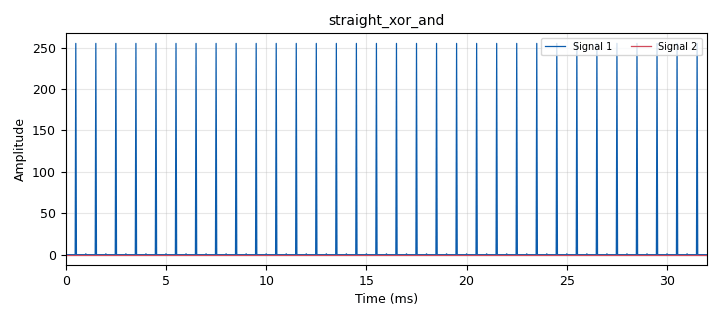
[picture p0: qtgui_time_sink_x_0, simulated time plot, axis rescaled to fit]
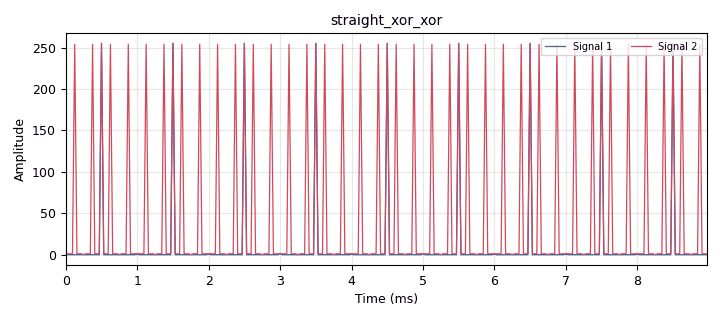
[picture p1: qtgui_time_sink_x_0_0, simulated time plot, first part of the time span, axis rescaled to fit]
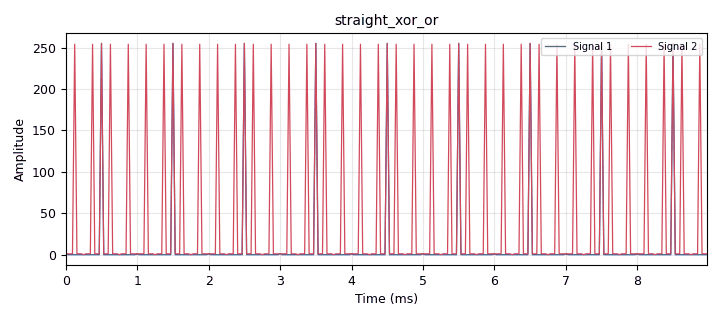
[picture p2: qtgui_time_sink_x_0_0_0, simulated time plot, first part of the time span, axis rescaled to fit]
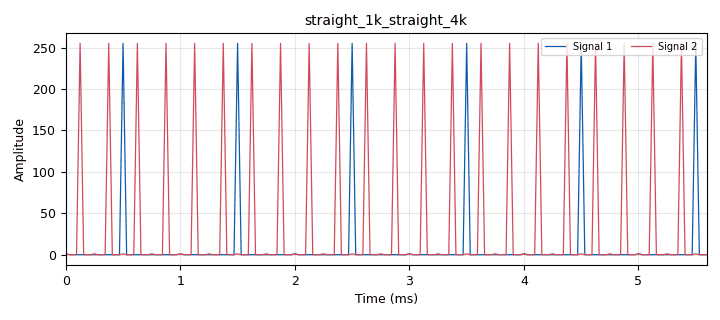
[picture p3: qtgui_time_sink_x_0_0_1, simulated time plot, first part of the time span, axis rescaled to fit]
options:
  parameters:
    author: opensourcesdr
    generate_options: qt_gui
    id: sample_rate_with_throttle
    output_language: python
    title: sample_rate_with_throttle
  states: {}

blocks:
- name: first_signal_freq
  id: variable
  parameters:
    value: 1e3
  states: {}
- name: samp_rate
  id: variable
  parameters:
    value: 32e3
  states: {}
- name: second_signal_freq
  id: variable
  parameters:
    value: 4e3
  states: {}
- name: analog_const_source_x_0
  id: analog_const_source_x
  parameters:
    const: '1'
    type: byte
  states: {}
- name: analog_sig_source_x_0
  id: analog_sig_source_x
  parameters:
    amp: '1'
    freq: first_signal_freq
    offset: '0'
    phase: '0'
    samp_rate: samp_rate
    type: byte
    waveform: analog.GR_COS_WAVE
  states: {}
- name: analog_sig_source_x_1
  id: analog_sig_source_x
  parameters:
    amp: '1'
    freq: second_signal_freq
    offset: '0'
    phase: '0'
    samp_rate: samp_rate
    type: byte
    waveform: analog.GR_COS_WAVE
  states: {}
- name: blocks_and_xx_0
  id: blocks_and_xx
  parameters:
    type: byte
  states: {}
- name: blocks_null_sink_0
  id: blocks_null_sink
  parameters:
    type: complex
  states: {}
- name: blocks_null_source_0
  id: blocks_null_source
  parameters:
    type: complex
  states: {}
- name: blocks_or_xx_0
  id: blocks_or_xx
  parameters:
    type: byte
  states: {}
- name: blocks_throttle_0
  id: blocks_throttle
  parameters:
    samples_per_second: samp_rate
    type: complex
  states: {}
- name: blocks_uchar_to_float_0
  id: blocks_uchar_to_float
  parameters: {}
  states: {}
- name: blocks_uchar_to_float_0_0
  id: blocks_uchar_to_float
  parameters: {}
  states: {}
- name: blocks_uchar_to_float_0_0_0
  id: blocks_uchar_to_float
  parameters: {}
  states: {}
- name: blocks_uchar_to_float_1
  id: blocks_uchar_to_float
  parameters: {}
  states: {}
- name: blocks_uchar_to_float_1_0
  id: blocks_uchar_to_float
  parameters: {}
  states: {}
- name: blocks_uchar_to_float_1_0_0
  id: blocks_uchar_to_float
  parameters: {}
  states: {}
- name: blocks_xor_xx_0
  id: blocks_xor_xx
  parameters:
    type: byte
  states: {}
- name: blocks_xor_xx_1
  id: blocks_xor_xx
  parameters:
    type: byte
  states: {}
- name: qtgui_time_sink_x_0
  id: qtgui_time_sink_x
  parameters:
    name: '"straight_xor_and"'
    nconnections: '2'
    size: '1024'
    srate: samp_rate
    type: float
  states: {}
- name: qtgui_time_sink_x_0_0
  id: qtgui_time_sink_x
  parameters:
    name: '"straight_xor_xor"'
    nconnections: '2'
    size: '1024'
    srate: samp_rate
    type: float
  states: {}
- name: qtgui_time_sink_x_0_0_0
  id: qtgui_time_sink_x
  parameters:
    name: '"straight_xor_or"'
    nconnections: '2'
    size: '1024'
    srate: samp_rate
    type: float
  states: {}
- name: qtgui_time_sink_x_0_0_1
  id: qtgui_time_sink_x
  parameters:
    name: '"straight_1k_straight_4k"'
    nconnections: '2'
    size: '1024'
    srate: samp_rate
    type: float
  states: {}

connections:
- [analog_const_source_x_0, '0', blocks_xor_xx_0, '1']
- [analog_sig_source_x_0, '0', blocks_and_xx_0, '0']
- [analog_sig_source_x_0, '0', blocks_or_xx_0, '0']
- [analog_sig_source_x_0, '0', blocks_uchar_to_float_0, '0']
- [analog_sig_source_x_0, '0', blocks_uchar_to_float_0_0, '0']
- [analog_sig_source_x_0, '0', blocks_xor_xx_1, '0']
- [analog_sig_source_x_1, '0', blocks_uchar_to_float_0_0_0, '0']
- [analog_sig_source_x_1, '0', blocks_xor_xx_0, '0']
- [blocks_and_xx_0, '0', blocks_uchar_to_float_1, '0']
- [blocks_null_source_0, '0', blocks_throttle_0, '0']
- [blocks_or_xx_0, '0', blocks_uchar_to_float_1_0, '0']
- [blocks_throttle_0, '0', blocks_null_sink_0, '0']
- [blocks_uchar_to_float_0, '0', qtgui_time_sink_x_0, '0']
- [blocks_uchar_to_float_0, '0', qtgui_time_sink_x_0_0, '0']
- [blocks_uchar_to_float_0, '0', qtgui_time_sink_x_0_0_0, '0']
- [blocks_uchar_to_float_0_0, '0', qtgui_time_sink_x_0_0_1, '0']
- [blocks_uchar_to_float_0_0_0, '0', qtgui_time_sink_x_0_0_1, '1']
- [blocks_uchar_to_float_1, '0', qtgui_time_sink_x_0, '1']
- [blocks_uchar_to_float_1_0, '0', qtgui_time_sink_x_0_0_0, '1']
- [blocks_uchar_to_float_1_0_0, '0', qtgui_time_sink_x_0_0, '1']
- [blocks_xor_xx_0, '0', blocks_and_xx_0, '1']
- [blocks_xor_xx_0, '0', blocks_or_xx_0, '1']
- [blocks_xor_xx_0, '0', blocks_xor_xx_1, '1']
- [blocks_xor_xx_1, '0', blocks_uchar_to_float_1_0_0, '0']

metadata:
  file_format: 1
